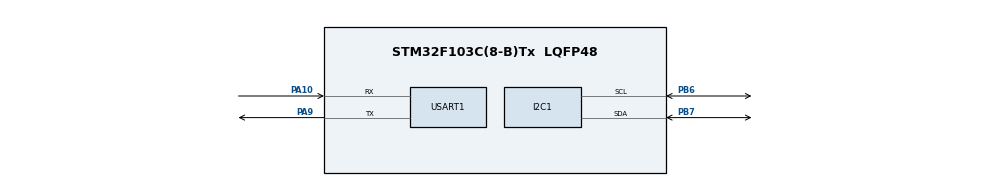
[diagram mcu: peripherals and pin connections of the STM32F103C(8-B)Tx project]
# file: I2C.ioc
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I2C1.DualAddressMode=I2C_DUALADDRESS_DISABLE
Mcu.Family=STM32F1
Mcu.Name=STM32F103C(8-B)Tx
Mcu.Package=LQFP48
NVIC.PriorityGroup=NVIC_PRIORITYGROUP_4
PA10.Mode=Asynchronous
PA10.Signal=USART1_RX
PA13.Mode=Trace_Asynchronous_SW
PA13.Signal=SYS_JTMS-SWDIO
PA14.Mode=Trace_Asynchronous_SW
PA14.Signal=SYS_JTCK-SWCLK
PA9.Mode=Asynchronous
PA9.Signal=USART1_TX
PB3.Mode=Trace_Asynchronous_SW
PB3.Signal=SYS_JTDO-TRACESWO
PB6.GPIO_Pu=GPIO_PULLUP
PB6.Mode=I2C
PB6.Signal=I2C1_SCL
PB7.GPIO_Pu=GPIO_PULLUP
PB7.Mode=I2C
PB7.Signal=I2C1_SDA
ProjectManager.HeapSize=0x200
ProjectManager.StackSize=0x400
ProjectManager.TargetToolchain=Makefile
RCC.APB1Freq_Value=8000000
RCC.APB2Freq_Value=8000000
USART1.VirtualMode=VM_ASYNC
board=custom

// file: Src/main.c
/* USER CODE BEGIN Header */
/**
  ******************************************************************************
  * @file           : main.c
  * @brief          : Main program body
  ******************************************************************************
  * @attention
  *
  * <h2><center>&copy; Copyright (c) 2020 STMicroelectronics.
  * All rights reserved.</center></h2>
  *
  * This software component is licensed by ST under BSD 3-Clause license,
  * the "License"; You may not use this file except in compliance with the
  * License. You may obtain a copy of the License at:
  *                        opensource.org/licenses/BSD-3-Clause
  *
  ******************************************************************************
  */
/* USER CODE END Header */
#include "main.h"
#include "i2c.h"
#include "usart.h"
#include "gpio.h"

/* USER CODE BEGIN Includes */
#include <stdio.h>
/* USER CODE END Includes */

/* USER CODE BEGIN PM */
#define RETRY_MAX 0xFFF
/* USER CODE END PM */

void SystemClock_Config(void);

/* USER CODE BEGIN 0 */
/**
 * @brief Send 8 bit data to the upward machine
 * @param data uint8_t 0~255
 * @return 0 failure ; 1 success
*/
uint8_t usart_transmit8(USART_TypeDef *USARTx, uint8_t data)
{
  static volatile uint16_t retry;

  retry = 0xFFF;
  while (!LL_USART_IsActiveFlag_TXE(USARTx))
  {
    if (!retry--)
      return 0U;
  }

  LL_USART_TransmitData8(USARTx, data);

  retry = 0xFFF;
  while (!LL_USART_IsActiveFlag_TC(USARTx))
  {
    if (!retry--)
      return 0U;
  }

  return 1U;
}

/**
 * @brief get 8 bit data from the upward machine
 * @param void
 * @return (uint8_t)data 0~255
*/
uint8_t usart_receive8(USART_TypeDef *USARTx)
{
  while (!LL_USART_IsActiveFlag_RXNE(USARTx))
  {
  }
  return LL_USART_ReceiveData8(USARTx);
}

#ifdef __GNUC__
#define PUTCHAR_PROTOTYPE int __io_putchar(int ch)
#define GETCHAR_PROTOTYPE int __io_getchar(void)
#else
#define PUTCHAR_PROTOTYPE int fputc(int ch, FILE *f)
#define GETCHAR_PROTOTYPE int fgetc(FILE *f)
#endif /* __GNUC__ */

#define CHAR_STREAM USART1
PUTCHAR_PROTOTYPE
{
  return usart_transmit8(CHAR_STREAM, ch);
}

GETCHAR_PROTOTYPE
{
  return usart_receive8(CHAR_STREAM);
}
#undef CHAR_STREAM

int _read(int file, char *ptr, int len)
{
  int DataIdx;

  for (DataIdx = 0; DataIdx < len; DataIdx++)
  {
    *ptr++ = __io_getchar();
  }

  return len;
}

int _write(int file, char *ptr, int len)
{
  int DataIdx;

  for (DataIdx = 0; DataIdx < len; DataIdx++)
  {
    __io_putchar(*ptr++);
  }
  return len;
}

void LL_I2C_Write8(I2C_TypeDef *I2Cx, uint8_t _addr, uint8_t _reg, uint8_t _data)
{
  uint16_t retry = RETRY_MAX;

  while (LL_I2C_IsActiveFlag_BUSY(I2Cx))
  {
    if (!retry--)
    {
      printf("\rI2C_WBUSY\r\n");
      return;
    }
  }

  LL_I2C_AcknowledgeNextData(I2Cx, LL_I2C_ACK);
  LL_I2C_GenerateStartCondition(I2Cx);

  retry = RETRY_MAX;
  while (!LL_I2C_IsActiveFlag_SB(I2Cx))
  {
    if (!retry--)
    {
      printf("\rI2C_WSB\r\n");
      return;
    }
  }

  LL_I2C_TransmitData8(I2Cx, _addr & (uint8_t)0xFE);

  retry = RETRY_MAX;
  while (!LL_I2C_IsActiveFlag_ADDR(I2Cx))
  {
    if (!retry--)
    {
      printf("\rI2C_WADDR\r\n");
      return;
    }
  }

  LL_I2C_ClearFlag_ADDR(I2Cx);

  retry = RETRY_MAX;
  while (!LL_I2C_IsActiveFlag_TXE(I2Cx))
  {
    if (!retry--)
    {
      printf("\rI2C_WTXE\r\n");
      return;
    }
  }

  LL_I2C_TransmitData8(I2Cx, _reg);

  retry = RETRY_MAX;
  while (!LL_I2C_IsActiveFlag_TXE(I2Cx))
  {
    if (!retry--)
    {
      printf("\rI2C_WTXE2\r\n");
      return;
    }
  }

  LL_I2C_TransmitData8(I2Cx, _data);

  retry = RETRY_MAX;
  while (!LL_I2C_IsActiveFlag_BTF(I2Cx))
  {
    if (!retry--)
    {
      printf("\rI2C_WBTF\r\n");
      return;
    }
  }

  LL_I2C_GenerateStopCondition(I2Cx);
}

uint8_t LL_I2C_Read8(I2C_TypeDef *I2Cx, uint8_t _addr, uint8_t _reg)
{
  uint16_t retry = RETRY_MAX;

  while (LL_I2C_IsActiveFlag_BUSY(I2Cx))
  {
    if (!retry--)
    {
      printf("\rI2C_RBUSY\r\n");
      return 0x00;
    }
  }

  LL_I2C_AcknowledgeNextData(I2Cx, LL_I2C_ACK);
  LL_I2C_GenerateStartCondition(I2Cx);

  retry = RETRY_MAX;
  while (!LL_I2C_IsActiveFlag_SB(I2Cx))
  {
    if (!retry--)
    {
      printf("\rI2C_RSB\r\n");
      return 0x00;
    }
  }

  LL_I2C_TransmitData8(I2Cx, _addr);

  retry = RETRY_MAX;
  while (!LL_I2C_IsActiveFlag_ADDR(I2Cx))
  {
    if (!retry--)
    {
      printf("\rI2C_RADDR\r\n");
      return 0x00;
    }
  }

  LL_I2C_ClearFlag_ADDR(I2Cx);

  retry = RETRY_MAX;
  while (!LL_I2C_IsActiveFlag_TXE(I2Cx))
  {
    if (!retry--)
    {
      printf("\rI2C_RTXE\r\n");
      return 0x00;
    }
  }

  LL_I2C_TransmitData8(I2Cx, _reg);

  retry = RETRY_MAX;
  while (!LL_I2C_IsActiveFlag_TXE(I2Cx))
  {
    if (!retry--)
    {
      printf("\rI2C_RTXE2\r\n");
      return 0x00;
    }
  }

  LL_I2C_GenerateStopCondition(I2Cx);
  LL_I2C_GenerateStartCondition(I2Cx);

  retry = RETRY_MAX;
  while (!LL_I2C_IsActiveFlag_SB(I2Cx))
  {
    if (!retry--)
    {
      printf("\rI2C_RSB2\r\n");
      return 0x00;
    }
  }

  LL_I2C_TransmitData8(I2Cx, _addr | 0x01);

  retry = RETRY_MAX;
  while (!LL_I2C_IsActiveFlag_ADDR(I2Cx))
  {
    if (!retry--)
    {
      printf("\rI2C_RADDR2\r\n");
      return 0x00;
    }
  }

  LL_I2C_AcknowledgeNextData(I2Cx, LL_I2C_NACK);
  LL_I2C_ClearFlag_ADDR(I2Cx);
  LL_I2C_GenerateStopCondition(I2Cx);

  retry = RETRY_MAX;
  while (!LL_I2C_IsActiveFlag_RXNE(I2Cx))
  {
    if (!retry--)
    {
      printf("\rI2C_RRXNE\r\n");
      return 0x00;
    }
  }

  return LL_I2C_ReceiveData8(I2Cx);
}

/* USER CODE END 0 */

int main(void)
{

  /* MCU Configuration--------------------------------------------------------*/

  /* Reset of all peripherals, Initializes the Flash interface and the Systick. */

  LL_APB2_GRP1_EnableClock(LL_APB2_GRP1_PERIPH_AFIO);
  LL_APB1_GRP1_EnableClock(LL_APB1_GRP1_PERIPH_PWR);

  NVIC_SetPriorityGrouping(NVIC_PRIORITYGROUP_4);

  /* System interrupt init*/

  /** NOJTAG: JTAG-DP Disabled and SW-DP Enabled
  */
  LL_GPIO_AF_Remap_SWJ_NOJTAG();

  /* Configure the system clock */
  SystemClock_Config();

  /* Initialize all configured peripherals */
  MX_GPIO_Init();
  MX_I2C1_Init();
  MX_USART1_UART_Init();
  /* USER CODE BEGIN 2 */
  uint8_t addr = 0x90;
  /* USER CODE END 2 */

  /* Infinite loop */
  while (1)
  {

  }
}

void SystemClock_Config(void)
{
  LL_FLASH_SetLatency(LL_FLASH_LATENCY_0);
  while(LL_FLASH_GetLatency()!= LL_FLASH_LATENCY_0)
  {
  }
  LL_RCC_HSI_SetCalibTrimming(16);
  LL_RCC_HSI_Enable();

   /* Wait till HSI is ready */
  while(LL_RCC_HSI_IsReady() != 1)
  {

  }
  LL_RCC_SetAHBPrescaler(LL_RCC_SYSCLK_DIV_1);
  LL_RCC_SetAPB1Prescaler(LL_RCC_APB1_DIV_1);
  LL_RCC_SetAPB2Prescaler(LL_RCC_APB2_DIV_1);
  LL_RCC_SetSysClkSource(LL_RCC_SYS_CLKSOURCE_HSI);

   /* Wait till System clock is ready */
  while(LL_RCC_GetSysClkSource() != LL_RCC_SYS_CLKSOURCE_STATUS_HSI)
  {

  }
  LL_Init1msTick(8000000);
  LL_SetSystemCoreClock(8000000);
}

void Error_Handler(void)
{
  __disable_irq();
  while (1)
  {
  }
}

/************************ (C) COPYRIGHT STMicroelectronics *****END OF FILE****/
